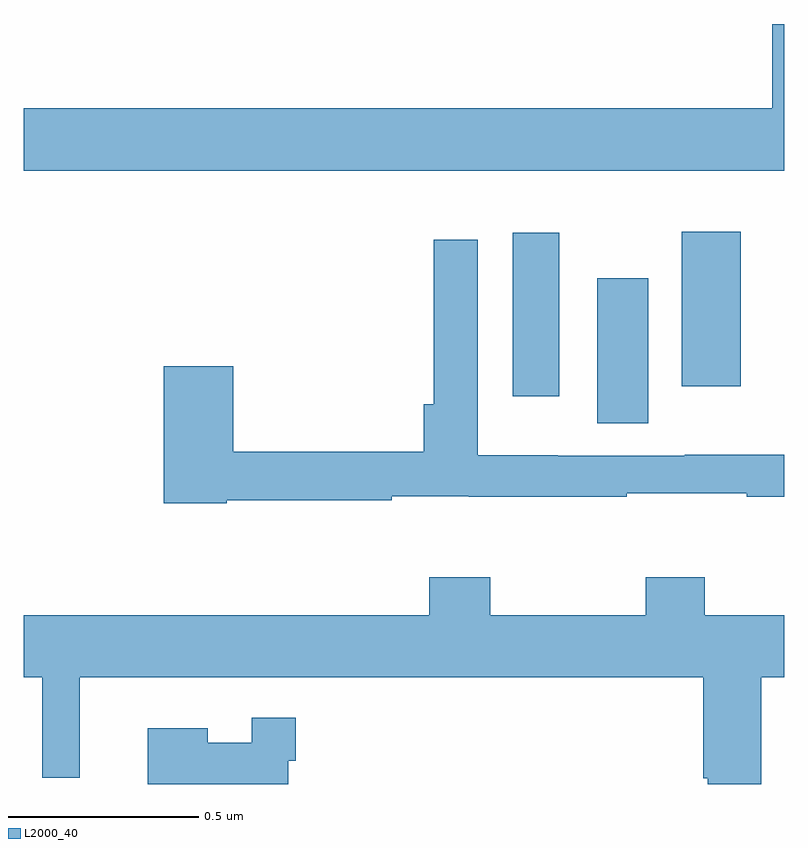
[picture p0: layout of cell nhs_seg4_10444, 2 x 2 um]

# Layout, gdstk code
import gdstk
lib = gdstk.Library(unit=1e-6, precision=1e-09)
def R(c, l, rs):  # rectangles x0, y0, x1, y1
    for r in rs: c.add(gdstk.rectangle(r[:2], r[2:], *l))
def P(c, l, *ps):  # polygons
    for p in ps: c.add(gdstk.Polygon(p, *l))
L2000_40 = (2000, 40)

nhs_seg4_10444 = lib.new_cell('nhs_seg4_10444')
R(nhs_seg4_10444, L2000_40, [(241.508,770.848,241.642,771.229), (241.286,770.919,241.408,771.349), (241.73,770.946,241.885,771.352)])
P(nhs_seg4_10444, L2000_40, [(242,771.898),(241.968,771.898),(241.968,771.676),(240,771.676),(240,771.512),(242,771.512)],
  [(240.534,770.646),(240.968,770.646),(240.968,770.657),(241.17,770.657),(241.17,770.655),(241.586,770.655),(241.586,770.665),(241.901,770.665),(241.901,770.655),(242,770.655),(242,770.765),(241.738,770.765),(241.738,770.763),(241.404,770.763),(241.404,770.764),(241.194,770.764),(241.194,771.331),(241.078,771.331),(241.078,770.899),(241.052,770.899),(241.052,770.774),(240.551,770.774),(240.551,770.998),(240.368,770.998),(240.368,770.638),(240.534,770.638)],
  [(241.939,770.18),(242,770.18),(242,770.344),(241.791,770.344),(241.791,770.443),(241.636,770.443),(241.636,770.344),(241.227,770.344),(241.227,770.443),(241.067,770.443),(241.067,770.344),(240,770.344),(240,770.18),(240.049,770.18),(240.049,769.917),(240.148,769.917),(240.148,770.18),(241.787,770.18),(241.787,769.915),(241.799,769.915),(241.799,769.9),(241.939,769.9)],
  [(240.696,769.961),(240.716,769.961),(240.716,770.074),(240.6,770.074),(240.6,770.008),(240.484,770.008),(240.484,770.047),(240.326,770.047),(240.326,769.9),(240.696,769.9)])

lib.write_gds('nhs_seg4_10444.gds')
